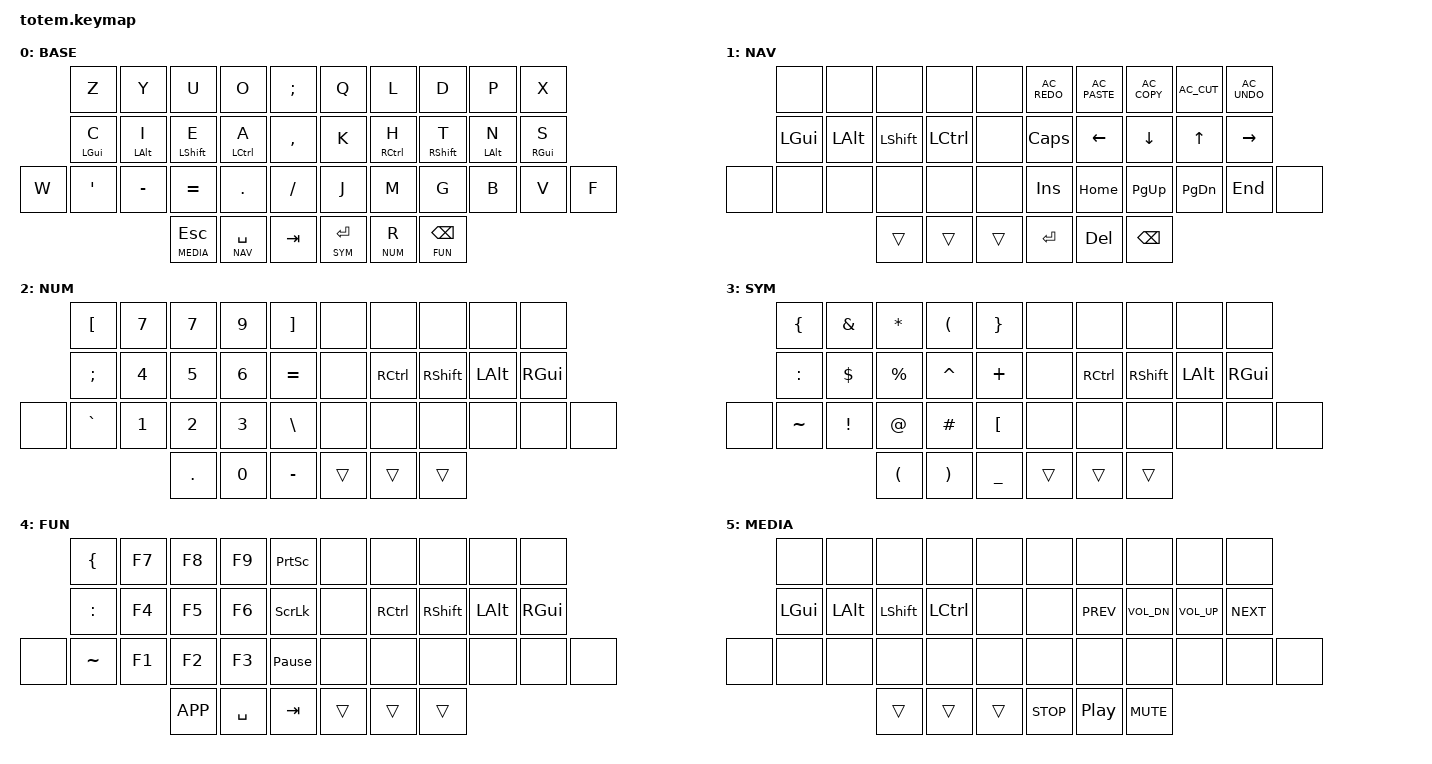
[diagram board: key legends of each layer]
//
//                                                        ▀▀▀▀▀     ▀▀▀▀▀          ▀▀█▀▀
//                                                        ▄▀▀▀▄  ▄  ▄▀▀▀▄  ▄  ▄▀▀▀▄  █  ▄▀▀▀▄
//                                                        █   █  █  █   █  █  █   █  █  █   █
//                                                         ▀▀▀   █   ▀▀▀   █   ▀▀▀   ▀   ▀▀▀
//                                                               █      ▄▄▄█▄▄▄    █   █  
//                                                               ▀      █  █  █     █▄█
//                                                             ▀▀▀▀▀    █  █  █      ▀
//                                                                      ▀  ▀  ▀
//
// ▄▄▄▄▄▄▄▄▄▄▄▄▄▄▄▄▄▄▄▄▄▄▄▄▄▄▄▄▄▄▄▄▄▄▄▄▄▄▄▄▄▄▄▄▄▄▄▄▄▄▄▄▄▄▄▄▄▄▄▄▄▄▄▄▄▄▄▄▄▄▄▄▄▄▄▄▄▄▄▄▄▄▄▄▄▄▄▄▄▄▄▄▄▄▄▄▄▄▄▄▄▄▄▄▄▄▄▄▄▄▄▄▄▄▄▄▄▄▄▄▄▄▄▄▄▄▄▄▄▄▄▄▄▄▄▄▄▄▄▄▄▄▄▄▄▄▄▄▄
       

#include <behaviors.dtsi>
#include <dt-bindings/zmk/keys.h>
#include <dt-bindings/zmk/bt.h>
#include <dt-bindings/zmk/outputs.h>

#define BASE  0
#define NAV   1
#define NUM   2
#define SYM   3
#define FUN   4
#define MEDIA 5


/ {
     combos {
            compatible = "zmk,combos";
            combo_esc {
                timeout-ms = <50>;
                key-positions = <0 1>;
                bindings = <&kp ESC>;
            };
            combo_ent {
                timeout-ms = <50>;
                key-positions = <16 17 18>;
                bindings = <&kp RET>;
            };
    };

    behaviors {
        hml: home_row_mod_left {
            compatible = "zmk,behavior-hold-tap";
            #binding-cells = <2>;
            flavor = "balanced";
            require-prior-idle-ms = <150>;
            tapping-term-ms = <280>;
            quick-tap-ms = <175>;
            bindings = <&kp>, <&kp>;
            hold-trigger-key-positions = < 10 11 12 13 >; // List of keys on the right side of the keyboard
            hold-trigger-on-release;
        };
        hmr: home_row_mod_right {
            compatible = "zmk,behavior-hold-tap";
            #binding-cells = <2>;
            flavor = "balanced";
            require-prior-idle-ms = <150>;
            tapping-term-ms = <280>;
            quick-tap-ms = <175>;
            bindings = <&kp>, <&kp>;
            hold-trigger-key-positions = < 16 17 18 19 >; // List of keys on the left side of the keyboard
            hold-trigger-on-release;
        };
    };

        keymap {
                compatible = "zmk,keymap";
// ▄▄▄▄▄▄▄▄▄▄▄▄▄▄▄▄▄▄▄▄▄▄▄▄▄▄▄▄▄▄▄▄▄▄▄▄▄▄▄▄▄▄▄▄▄▄▄▄▄▄▄▄▄▄▄▄▄▄▄▄▄▄▄▄▄▄▄▄▄▄▄▄▄▄▄▄▄▄▄▄▄▄▄▄▄▄▄▄▄▄▄▄▄▄▄▄▄▄▄▄▄▄▄▄▄▄▄▄▄▄▄▄▄▄▄▄▄▄▄▄▄▄▄▄▄▄▄▄▄▄▄▄▄▄▄▄▄▄▄▄▄▄▄▄▄▄▄▄▄

                base_layer {
// ┏━━━━━━━━━━━━━━━━━━━━━━━━━━━━━━━━━━━━━━━┓
label= "BASE"                              ;
// ┗━━━━━━━━━━━━━━━━━━━━━━━━━━━━━━━━━━━━━━━┛
//             ┏━━━━━━━━━━━┳━━━━━━━━━━━┳━━━━━━━━━━━┳━━━━━━━━━━━┳━━━━━━━━━━━┓   ┏━━━━━━━━━━━┳━━━━━━━━━━━┳━━━━━━━━━━━┳━━━━━━━━━━━┳━━━━━━━━━━━┓
//             ┃     Z     ┃     Y     ┃     U     ┃     O     ┃     ;     ┃   ┃     Q     ┃     L     ┃     D     ┃     P     ┃     X     ┃
//             ┣━━━━━━━━━━━╋━━━━━━━━━━━╋━━━━━━━━━━━╋━━━━━━━━━━━╋━━━━━━━━━━━┫   ┣━━━━━━━━━━━╋━━━━━━━━━━━╋━━━━━━━━━━━╋━━━━━━━━━━━╋━━━━━━━━━━━┫
//             ┃     C     ┃     I     ┃     E     ┃     A     ┃     ,     ┃   ┃     K     ┃     H     ┃     T     ┃     N     ┃     S     ┃
// ┏━━━━━━━━━━━╋━━━━━━━━━━━╋━━━━━━━━━━━╋━━━━━━━━━━━╋━━━━━━━━━━━╋━━━━━━━━━━━┫   ┣━━━━━━━━━━━╋━━━━━━━━━━━╋━━━━━━━━━━━╋━━━━━━━━━━━╋━━━━━━━━━━━╋━━━━━━━━━━━┓
// ┃     W     ┃     '     ┃     -     ┃     =     ┃     .     ┃     /     ┃   ┃     J     ┃     M     ┃     G     ┃     B     ┃     V     ┃     F     ┃
// ┗━━━━━━━━━━━┻━━━━━━━━━━━┻━━━━━━━━━━━╋━━━━━━━━━━━╋━━━━━━━━━━━╋━━━━━━━━━━━┫   ┣━━━━━━━━━━━╋━━━━━━━━━━━╋━━━━━━━━━━━╋━━━━━━━━━━━┻━━━━━━━━━━━┻━━━━━━━━━━━┛
//                                     ┃    ESC    ┃    SPC    ┃    TAB    ┃   ┃   ENTER   ┃     R     ┃   BSPC    ┃
//                                     ┗━━━━━━━━━━━┻━━━━━━━━━━━┻━━━━━━━━━━━┛   ┗━━━━━━━━━━━┻━━━━━━━━━━━┻━━━━━━━━━━━┛
 bindings = <
// ╷           ╷           ╷           ╷           ╷           ╷           ╷   ╷           ╷           ╷           ╷           ╷           ╷           ╷

                &kp Z       &kp Y       &kp U       &kp O       &kp SEMI        &kp Q       &kp L       &kp D       &kp P       &kp X
                &hml LGUI C &hml LALT I &hml LSHFT E &hml LCTRL A &kp COMMA       &kp K       &hmr RCTRL H &hmr RSHFT T &hmr LALT N  &hmr RGUI S
    &kp W       &kp APOS    &kp MINUS   &kp EQUAL   &kp DOT     &kp FSLH        &kp J       &kp M       &kp G       &kp B       &kp V       &kp F
                                      &lt MEDIA ESC &lt NAV SPC &kp TAB         &lt SYM RET &lt NUM R   &lt FUN BSPC
             >;
                };

// ▄▄▄▄▄▄▄▄▄▄▄▄▄▄▄▄▄▄▄▄▄▄▄▄▄▄▄▄▄▄▄▄▄▄▄▄▄▄▄▄▄▄▄▄▄▄▄▄▄▄▄▄▄▄▄▄▄▄▄▄▄▄▄▄▄▄▄▄▄▄▄▄▄▄▄▄▄▄▄▄▄▄▄▄▄▄▄▄▄▄▄▄▄▄▄▄▄▄▄▄▄▄▄▄▄▄▄▄▄▄▄▄▄▄▄▄▄▄▄▄▄▄▄▄▄▄▄▄▄▄▄▄▄▄▄▄▄▄▄▄▄▄▄▄▄▄▄▄▄


                nav_layer {
// ┏━━━━━━━━━━━━━━━━━━━━━━━━━━━━━━━━━━━━━━━┓
label= "NAV"                              ;
// ┗━━━━━━━━━━━━━━━━━━━━━━━━━━━━━━━━━━━━━━━┛
//             ┏━━━━━━━━━━━┳━━━━━━━━━━━┳━━━━━━━━━━━┳━━━━━━━━━━━┳━━━━━━━━━━━┓   ┏━━━━━━━━━━━┳━━━━━━━━━━━┳━━━━━━━━━━━┳━━━━━━━━━━━┳━━━━━━━━━━━┓
//             ┃           ┃           ┃           ┃           ┃           ┃   ┃   REDO    ┃   PASTE   ┃   COPY    ┃    CUT    ┃   UNDO    ┃
//             ┣━━━━━━━━━━━╋━━━━━━━━━━━╋━━━━━━━━━━━╋━━━━━━━━━━━╋━━━━━━━━━━━┫   ┣━━━━━━━━━━━╋━━━━━━━━━━━╋━━━━━━━━━━━╋━━━━━━━━━━━╋━━━━━━━━━━━┫
//             ┃   LGUI    ┃   LALT    ┃   LSHFT   ┃   LCTRL   ┃           ┃   ┃   CAPSL   ┃   LEFT    ┃   DOWN    ┃    UP     ┃   RIGHT   ┃
// ┏━━━━━━━━━━━╋━━━━━━━━━━━╋━━━━━━━━━━━╋━━━━━━━━━━━╋━━━━━━━━━━━╋━━━━━━━━━━━┫   ┣━━━━━━━━━━━╋━━━━━━━━━━━╋━━━━━━━━━━━╋━━━━━━━━━━━╋━━━━━━━━━━━╋━━━━━━━━━━━┓
// ┃           ┃           ┃           ┃           ┃           ┃           ┃   ┃   INSERT  ┃   HOME    ┃   PAGEUP  ┃  PAGEDWN  ┃    END    ┃           ┃
// ┗━━━━━━━━━━━┻━━━━━━━━━━━┻━━━━━━━━━━━╋━━━━━━━━━━━╋━━━━━━━━━━━╋━━━━━━━━━━━┫   ┣━━━━━━━━━━━╋━━━━━━━━━━━╋━━━━━━━━━━━╋━━━━━━━━━━━┻━━━━━━━━━━━┻━━━━━━━━━━━┛
//                                     ┃           ┃           ┃           ┃   ┃   ENTER   ┃    DEL    ┃   BSPC    ┃
//                                     ┗━━━━━━━━━━━┻━━━━━━━━━━━┻━━━━━━━━━━━┛   ┗━━━━━━━━━━━┻━━━━━━━━━━━┻━━━━━━━━━━━┛
 bindings = <
// ╷           ╷           ╷           ╷           ╷           ╷           ╷   ╷           ╷           ╷           ╷           ╷           ╷           ╷

                &none       &none       &none       &none       &none           &kp C_AC_REDO &kp C_AC_PASTE &kp C_AC_COPY   &kp C_AC_CUT   &kp C_AC_UNDO
                &kp LGUI    &kp LALT    &kp LSHIFT  &kp LCTRL   &none           &kp CAPS    &kp LEFT    &kp DOWN    &kp UP      &kp RIGHT
    &none       &none       &none       &none       &none       &none           &kp INSERT  &kp HOME    &kp PG_UP   &kp PG_DN   &kp END     &none       
                                        &trans      &trans      &trans          &kp RET     &kp DEL     &kp BSPC      
                        >;
                };

// ▄▄▄▄▄▄▄▄▄▄▄▄▄▄▄▄▄▄▄▄▄▄▄▄▄▄▄▄▄▄▄▄▄▄▄▄▄▄▄▄▄▄▄▄▄▄▄▄▄▄▄▄▄▄▄▄▄▄▄▄▄▄▄▄▄▄▄▄▄▄▄▄▄▄▄▄▄▄▄▄▄▄▄▄▄▄▄▄▄▄▄▄▄▄▄▄▄▄▄▄▄▄▄▄▄▄▄▄▄▄▄▄▄▄▄▄▄▄▄▄▄▄▄▄▄▄▄▄▄▄▄▄▄▄▄▄▄▄▄▄▄▄▄▄▄▄▄▄▄


                num_layer {
// ┏━━━━━━━━━━━━━━━━━━━━━━━━━━━━━━━━━━━━━━━┓
label= "NUM"                               ;
// ┗━━━━━━━━━━━━━━━━━━━━━━━━━━━━━━━━━━━━━━━┛
//             ┏━━━━━━━━━━━┳━━━━━━━━━━━┳━━━━━━━━━━━┳━━━━━━━━━━━┳━━━━━━━━━━━┓   ┏━━━━━━━━━━━┳━━━━━━━━━━━┳━━━━━━━━━━━┳━━━━━━━━━━━┳━━━━━━━━━━━┓
//             ┃     [     ┃     7     ┃     8     ┃     9     ┃     ]     ┃   ┃           ┃           ┃           ┃           ┃           ┃
//             ┣━━━━━━━━━━━╋━━━━━━━━━━━╋━━━━━━━━━━━╋━━━━━━━━━━━╋━━━━━━━━━━━┫   ┣━━━━━━━━━━━╋━━━━━━━━━━━╋━━━━━━━━━━━╋━━━━━━━━━━━╋━━━━━━━━━━━┫
//             ┃     ;     ┃     4     ┃     5     ┃     6     ┃     =     ┃   ┃           ┃   RCTRL   ┃   SHIFT   ┃   RALT    ┃    RGUI   ┃
// ┏━━━━━━━━━━━╋━━━━━━━━━━━╋━━━━━━━━━━━╋━━━━━━━━━━━╋━━━━━━━━━━━╋━━━━━━━━━━━┫   ┣━━━━━━━━━━━╋━━━━━━━━━━━╋━━━━━━━━━━━╋━━━━━━━━━━━╋━━━━━━━━━━━╋━━━━━━━━━━━┓
// ┃           ┃     `     ┃     1     ┃     2     ┃     3     ┃     \     ┃   ┃           ┃           ┃           ┃           ┃           ┃           ┃
// ┗━━━━━━━━━━━┻━━━━━━━━━━━┻━━━━━━━━━━━╋━━━━━━━━━━━╋━━━━━━━━━━━╋━━━━━━━━━━━┫   ┣━━━━━━━━━━━╋━━━━━━━━━━━╋━━━━━━━━━━━╋━━━━━━━━━━━┻━━━━━━━━━━━┻━━━━━━━━━━━┛
//                                     ┃     .     ┃     0     ┃     -     ┃   ┃           ┃           ┃           ┃
//                                     ┗━━━━━━━━━━━┻━━━━━━━━━━━┻━━━━━━━━━━━┛   ┗━━━━━━━━━━━┻━━━━━━━━━━━┻━━━━━━━━━━━┛
 bindings = <
// ╷           ╷           ╷           ╷           ╷           ╷           ╷   ╷           ╷           ╷           ╷           ╷           ╷           ╷

                &kp LBKT    &kp N7      &kp N7      &kp N9      &kp RBKT        &none       &none       &none       &none       &none         
                &kp SEMI    &kp N4      &kp N5      &kp N6      &kp EQUAL       &none       &kp RCTRL   &kp RSHFT   &kp LALT    &kp RGUI     
    &none       &kp GRAVE   &kp N1      &kp N2      &kp N3      &kp BACKSLASH   &none       &none       &none       &none       &none       &none                
                                        &kp DOT     &kp N0      &kp MINUS       &trans      &trans      &trans      
                        >;
                };

// ▄▄▄▄▄▄▄▄▄▄▄▄▄▄▄▄▄▄▄▄▄▄▄▄▄▄▄▄▄▄▄▄▄▄▄▄▄▄▄▄▄▄▄▄▄▄▄▄▄▄▄▄▄▄▄▄▄▄▄▄▄▄▄▄▄▄▄▄▄▄▄▄▄▄▄▄▄▄▄▄▄▄▄▄▄▄▄▄▄▄▄▄▄▄▄▄▄▄▄▄▄▄▄▄▄▄▄▄▄▄▄▄▄▄▄▄▄▄▄▄▄▄▄▄▄▄▄▄▄▄▄▄▄▄▄▄▄▄▄▄▄▄▄▄▄▄▄▄▄


                sym_layer {
// ┏━━━━━━━━━━━━━━━━━━━━━━━━━━━━━━━━━━━━━━━┓
label= "SYM"                               ;
// ┗━━━━━━━━━━━━━━━━━━━━━━━━━━━━━━━━━━━━━━━┛
//             ┏━━━━━━━━━━━┳━━━━━━━━━━━┳━━━━━━━━━━━┳━━━━━━━━━━━┳━━━━━━━━━━━┓   ┏━━━━━━━━━━━┳━━━━━━━━━━━┳━━━━━━━━━━━┳━━━━━━━━━━━┳━━━━━━━━━━━┓
//             ┃     {     ┃     &     ┃     *     ┃     (     ┃     }     ┃   ┃           ┃           ┃           ┃           ┃           ┃
//             ┣━━━━━━━━━━━╋━━━━━━━━━━━╋━━━━━━━━━━━╋━━━━━━━━━━━╋━━━━━━━━━━━┫   ┣━━━━━━━━━━━╋━━━━━━━━━━━╋━━━━━━━━━━━╋━━━━━━━━━━━╋━━━━━━━━━━━┫
//             ┃     :     ┃     $     ┃     %     ┃     ^     ┃     +     ┃   ┃           ┃   RCTRL   ┃   SHIFT   ┃   RALT    ┃    RGUI   ┃
// ┏━━━━━━━━━━━╋━━━━━━━━━━━╋━━━━━━━━━━━╋━━━━━━━━━━━╋━━━━━━━━━━━╋━━━━━━━━━━━┫   ┣━━━━━━━━━━━╋━━━━━━━━━━━╋━━━━━━━━━━━╋━━━━━━━━━━━╋━━━━━━━━━━━╋━━━━━━━━━━━┓
// ┃           ┃     ~     ┃     !     ┃     @     ┃     #     ┃     |     ┃   ┃           ┃           ┃           ┃           ┃           ┃           ┃
// ┗━━━━━━━━━━━┻━━━━━━━━━━━┻━━━━━━━━━━━╋━━━━━━━━━━━╋━━━━━━━━━━━╋━━━━━━━━━━━┫   ┣━━━━━━━━━━━╋━━━━━━━━━━━╋━━━━━━━━━━━╋━━━━━━━━━━━┻━━━━━━━━━━━┻━━━━━━━━━━━┛
//                                     ┃     (     ┃     )     ┃     _     ┃   ┃           ┃           ┃           ┃
//                                     ┗━━━━━━━━━━━┻━━━━━━━━━━━┻━━━━━━━━━━━┛   ┗━━━━━━━━━━━┻━━━━━━━━━━━┻━━━━━━━━━━━┛
 bindings = <
// ╷           ╷           ╷           ╷           ╷           ╷           ╷   ╷           ╷           ╷           ╷           ╷           ╷           ╷

                &kp LBRC    &kp AMPS    &kp ASTRK   &kp LPAR    &kp RBRC        &none       &none       &none       &none       &none       
                &kp COLON   &kp DOLLAR  &kp PERCENT &kp CARET   &kp PLUS        &none      &kp RCTRL   &kp RSHFT   &kp LALT    &kp RGUI
    &none       &kp TILDE   &kp EXCL    &kp AT      &kp HASH    &kp LBKT        &none       &none       &none       &none       &none       &none         
                                        &kp LPAR    &kp RPAR    &kp UNDER       &trans      &trans      &trans      
                        >;
                };

// ▄▄▄▄▄▄▄▄▄▄▄▄▄▄▄▄▄▄▄▄▄▄▄▄▄▄▄▄▄▄▄▄▄▄▄▄▄▄▄▄▄▄▄▄▄▄▄▄▄▄▄▄▄▄▄▄▄▄▄▄▄▄▄▄▄▄▄▄▄▄▄▄▄▄▄▄▄▄▄▄▄▄▄▄▄▄▄▄▄▄▄▄▄▄▄▄▄▄▄▄▄▄▄▄▄▄▄▄▄▄▄▄▄▄▄▄▄▄▄▄▄▄▄▄▄▄▄▄▄▄▄▄▄▄▄▄▄▄▄▄▄▄▄▄▄▄▄▄▄


                fun_layer {
// ┏━━━━━━━━━━━━━━━━━━━━━━━━━━━━━━━━━━━━━━━┓
label= "FUN"                             ;
// ┗━━━━━━━━━━━━━━━━━━━━━━━━━━━━━━━━━━━━━━━┛
//             ┏━━━━━━━━━━━┳━━━━━━━━━━━┳━━━━━━━━━━━┳━━━━━━━━━━━┳━━━━━━━━━━━┓   ┏━━━━━━━━━━━┳━━━━━━━━━━━┳━━━━━━━━━━━┳━━━━━━━━━━━┳━━━━━━━━━━━┓
//             ┃    F12    ┃    F7     ┃    F8     ┃    F9     ┃   PrtScn  ┃   ┃           ┃           ┃           ┃           ┃           ┃
//             ┣━━━━━━━━━━━╋━━━━━━━━━━━╋━━━━━━━━━━━╋━━━━━━━━━━━╋━━━━━━━━━━━┫   ┣━━━━━━━━━━━╋━━━━━━━━━━━╋━━━━━━━━━━━╋━━━━━━━━━━━╋━━━━━━━━━━━┫
//             ┃    F11    ┃    F4     ┃    F5     ┃    F6     ┃  ScrlLck  ┃   ┃           ┃   RCTRL   ┃   SHIFT   ┃   RALT    ┃    RGUI   ┃
// ┏━━━━━━━━━━━╋━━━━━━━━━━━╋━━━━━━━━━━━╋━━━━━━━━━━━╋━━━━━━━━━━━╋━━━━━━━━━━━┫   ┣━━━━━━━━━━━╋━━━━━━━━━━━╋━━━━━━━━━━━╋━━━━━━━━━━━╋━━━━━━━━━━━╋━━━━━━━━━━━┓
// ┃           ┃    F10    ┃    F1     ┃    F2     ┃    F3     ┃   PAUSE   ┃   ┃           ┃           ┃           ┃           ┃           ┃           ┃
// ┗━━━━━━━━━━━┻━━━━━━━━━━━┻━━━━━━━━━━━╋━━━━━━━━━━━╋━━━━━━━━━━━╋━━━━━━━━━━━┫   ┣━━━━━━━━━━━╋━━━━━━━━━━━╋━━━━━━━━━━━╋━━━━━━━━━━━┻━━━━━━━━━━━┻━━━━━━━━━━━┛
//                                     ┃    APP    ┃   SPACE   ┃    TAB    ┃   ┃           ┃           ┃           ┃
//                                     ┗━━━━━━━━━━━┻━━━━━━━━━━━┻━━━━━━━━━━━┛   ┗━━━━━━━━━━━┻━━━━━━━━━━━┻━━━━━━━━━━━┛
 bindings = <
// ╷           ╷           ╷           ╷           ╷           ╷           ╷   ╷           ╷           ╷           ╷           ╷           ╷           ╷

                &kp LBRC    &kp F7      &kp F8      &kp F9      &kp PSCRN       &none       &none       &none       &none       &none       
                &kp COLON   &kp F4      &kp F5      &kp F6      &kp SLCK        &none       &kp RCTRL   &kp RSHFT   &kp LALT    &kp RGUI
    &none       &kp TILDE   &kp F1      &kp F2      &kp F3      &kp PAUSE_BREAK &none       &none       &none       &none       &none       &none         
                                        &kp K_APP   &kp SPACE   &kp TAB         &trans      &trans      &trans      
                        >;
                };

// ▄▄▄▄▄▄▄▄▄▄▄▄▄▄▄▄▄▄▄▄▄▄▄▄▄▄▄▄▄▄▄▄▄▄▄▄▄▄▄▄▄▄▄▄▄▄▄▄▄▄▄▄▄▄▄▄▄▄▄▄▄▄▄▄▄▄▄▄▄▄▄▄▄▄▄▄▄▄▄▄▄▄▄▄▄▄▄▄▄▄▄▄▄▄▄▄▄▄▄▄▄▄▄▄▄▄▄▄▄▄▄▄▄▄▄▄▄▄▄▄▄▄▄▄▄▄▄▄▄▄▄▄▄▄▄▄▄▄▄▄▄▄▄▄▄▄▄▄▄


                media_layer {
// ┏━━━━━━━━━━━━━━━━━━━━━━━━━━━━━━━━━━━━━━━┓
label= "MEDIA"                             ;
// ┗━━━━━━━━━━━━━━━━━━━━━━━━━━━━━━━━━━━━━━━┛
//             ┏━━━━━━━━━━━┳━━━━━━━━━━━┳━━━━━━━━━━━┳━━━━━━━━━━━┳━━━━━━━━━━━┓   ┏━━━━━━━━━━━┳━━━━━━━━━━━┳━━━━━━━━━━━┳━━━━━━━━━━━┳━━━━━━━━━━━┓
//             ┃           ┃           ┃           ┃           ┃           ┃   ┃           ┃           ┃           ┃           ┃           ┃
//             ┣━━━━━━━━━━━╋━━━━━━━━━━━╋━━━━━━━━━━━╋━━━━━━━━━━━╋━━━━━━━━━━━┫   ┣━━━━━━━━━━━╋━━━━━━━━━━━╋━━━━━━━━━━━╋━━━━━━━━━━━╋━━━━━━━━━━━┫
//             ┃   LGUI    ┃   LALT    ┃   LSHFT   ┃   LCTRL   ┃           ┃   ┃           ┃   PREV    ┃  VOL_DN   ┃   VOL_UP  ┃   NEXT    ┃
// ┏━━━━━━━━━━━╋━━━━━━━━━━━╋━━━━━━━━━━━╋━━━━━━━━━━━╋━━━━━━━━━━━╋━━━━━━━━━━━┫   ┣━━━━━━━━━━━╋━━━━━━━━━━━╋━━━━━━━━━━━╋━━━━━━━━━━━╋━━━━━━━━━━━╋━━━━━━━━━━━┓
// ┃           ┃           ┃           ┃           ┃           ┃           ┃   ┃           ┃           ┃           ┃           ┃           ┃           ┃
// ┗━━━━━━━━━━━┻━━━━━━━━━━━┻━━━━━━━━━━━╋━━━━━━━━━━━╋━━━━━━━━━━━╋━━━━━━━━━━━┫   ┣━━━━━━━━━━━╋━━━━━━━━━━━╋━━━━━━━━━━━╋━━━━━━━━━━━┻━━━━━━━━━━━┻━━━━━━━━━━━┛
//                                     ┃           ┃           ┃           ┃   ┃    STOP   ┃ PLAY/PAUSE┃   MUTE    ┃
//                                     ┗━━━━━━━━━━━┻━━━━━━━━━━━┻━━━━━━━━━━━┛   ┗━━━━━━━━━━━┻━━━━━━━━━━━┻━━━━━━━━━━━┛
 bindings = <
// ╷           ╷           ╷           ╷           ╷           ╷           ╷   ╷           ╷           ╷           ╷           ╷           ╷           ╷

                &none       &none       &none       &none       &none           &none       &none       &none       &none       &none       
                &kp LGUI    &kp LALT    &kp LSHIFT  &kp LCTRL   &none           &none       &kp C_PREV  &kp C_VOL_DN &kp C_VOL_UP &kp C_NEXT     
    &none       &none       &none       &none       &none       &none           &none       &none       &none       &none       &none       &none         
                                        &trans      &trans      &trans          &kp C_STOP  &kp C_PP    &kp C_MUTE
                        >;
                };
        };
};
